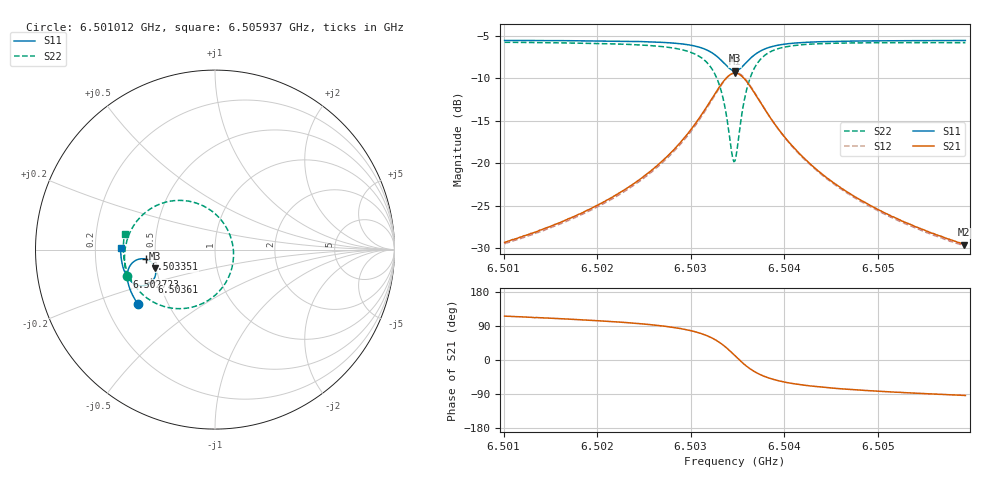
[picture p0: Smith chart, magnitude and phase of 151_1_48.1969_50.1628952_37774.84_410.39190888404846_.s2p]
#  HZ  S  RI  R  50.00
! Rohde & Schwarz Vector Network Analyzer
! Rohde-Schwarz,ZNB20-2Port,1311601062101988,3.16
! Created: UTC 3/20/2024, 11:42:49 AM
! freq[Hz]  re:S11  im:S11  re:S21  im:S21  re:S12  im:S12  re:S22  im:S22
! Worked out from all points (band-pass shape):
!   401 points, 6.501012 GHz to 6.505937 GHz, reference 50 ohm
!   highest |S21| = -9.41 dB at 6.503474 GHz (marker M1); lowest = -29.6 dB at 6.505925 GHz (marker M2)
!   |S21| within 3 dB of the highest: 6.503228 GHz to 6.503721 GHz (493.1 kHz wide, 0.00758 % of centre)
!   lowest |S11| = -9.1 dB at 6.503474 GHz (marker M3), VSWR 2.07, Z = 24.6 - j5.84 ohm
!   |S11| at or under -10 dB: nowhere
!   |S22| runs from -19.8 to -5.8 dB; largest |S21 - S12| = 0.012
!   S11 on the Smith chart (normalised r, x): 6.501012 GHz: 0.34, -0.29; 6.502723 GHz: 0.33, -0.14; 6.503351 GHz: 0.44, -0.06; 6.50361 GHz: 0.45, -0.19; 6.505937 GHz: 0.31, +0.01
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6.5010117e9  -0.429 -0.3051  -0.0149 0.0308  -0.0131 0.0309  -0.4919 -0.1479
6.5018368e9  -0.4641 -0.2436  -0.0143 0.0489  -0.0116 0.0486  -0.504 -0.0589
6.5022554e9  -0.4788 -0.2064  -0.0113 0.0667  -0.00839 0.0656  -0.501 0.000849
6.5026618e9  -0.4883 -0.1612  -0.00157 0.0989  0.00207 0.0965  -0.4793 0.0829
6.5027233e9  -0.4888 -0.1529  0.00162 0.1062  0.00537 0.1034  -0.4723 0.0989
6.502945e9  -0.4852 -0.1179  0.0237 0.1415  0.0274 0.1372  -0.4261 0.1699
6.5031051e9  -0.4706 -0.0856  0.0631 0.1776  0.066 0.1716  -0.3495 0.2335
6.5032528e9  -0.4329 -0.0562  0.1449 0.2062  0.1457 0.1997  -0.2001 0.2742
6.5033513e9  -0.3866 -0.0534  0.2363 0.1895  0.2363 0.1845  -0.042 0.2307
6.5034375e9  -0.3439 -0.0823  0.3143 0.1147  0.3167 0.1102  0.0824 0.0834
6.5034745e9  -0.3331 -0.1043  0.3318 0.0662  0.3352 0.0603  0.1029 -0.00816
6.5034991e9  -0.3302 -0.1205  0.3353 0.0315  0.3389 0.0245  0.1002 -0.0713
6.503536e9  -0.3323 -0.1445  0.3277 -0.0185  0.331 -0.0277  0.0728 -0.16
6.5036099e9  -0.3545 -0.1813  0.2812 -0.0948  0.2808 -0.1063  -0.0373 -0.2825
6.5037207e9  -0.4 -0.2013  0.1943 -0.14  0.1889 -0.1497  -0.2131 -0.3287
6.5038808e9  -0.4471 -0.1917  0.1106 -0.1361  0.1034 -0.1412  -0.3642 -0.2802
6.5040532e9  -0.475 -0.1704  0.0652 -0.1152  0.0588 -0.1176  -0.4377 -0.2136
6.5042995e9  -0.4958 -0.1405  0.0346 -0.0901  0.0297 -0.0907  -0.4818 -0.1401
6.5046566e9  -0.5111 -0.1028  0.0155 -0.0668  0.0122 -0.0665  -0.5041 -0.0665
6.5051245e9  -0.5209 -0.059  0.00518 -0.0493  0.00287 -0.0485  -0.5107 0.00133
6.5059249e9  -0.5259 0.00906  -0.00198 -0.0331  -0.00339 -0.0325  -0.5034 0.0875
6.5059372e9  -0.5259 0.0101  -0.00212 -0.0332  -0.00338 -0.0323  -0.5031 0.0886
